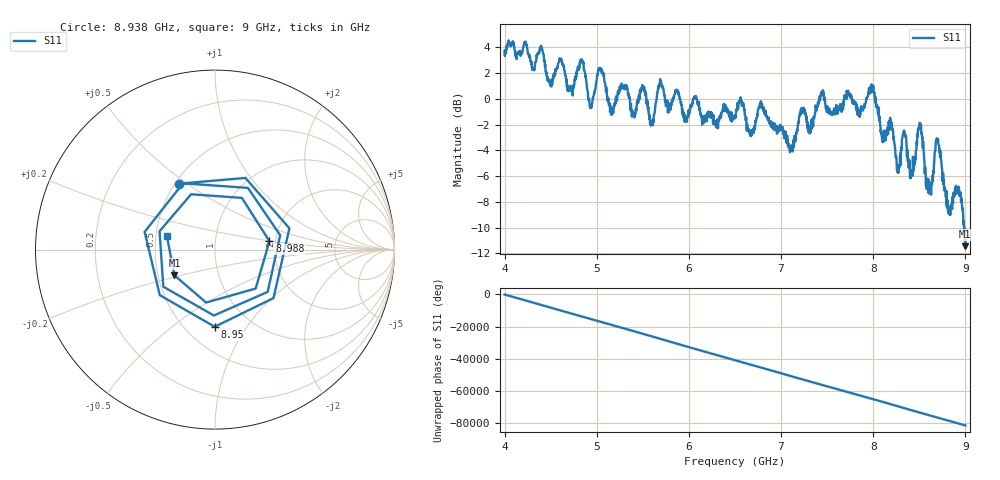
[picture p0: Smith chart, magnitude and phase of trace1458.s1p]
! Created with skrf 1.8.0 (http://scikit-rf.org).
# Hz S RI R 50.0
!freq ReS11 ImS11
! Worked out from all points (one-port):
!   1601 points, 4 GHz to 9 GHz, reference 50 ohm
!   lowest |S11| = -11.4 dB at 8.997 GHz (marker M1), VSWR 1.73, Z = 30.5 - j9.4 ohm
!   |S11| at or under -10 dB: 8.985879 GHz to end of sweep
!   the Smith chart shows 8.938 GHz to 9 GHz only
!   S11 on the Smith chart (normalised r, x): 8.938 GHz: 0.52, +0.47; 8.95 GHz: 0.69, -0.72; 8.988 GHz: 1.86, +0.19; 9 GHz: 0.57, +0.10
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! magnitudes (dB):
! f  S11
! 4 GHz  3.7
! 4.625 GHz  2.8
! 4.719 GHz  0.7
! 4.841 GHz  2.9
! 4.931 GHz  -0.6
! 5.034 GHz  2.4
! 5.156 GHz  -1.0
! 5.25 GHz  1.0
! 5.509 GHz  0.8
! 5.594 GHz  -1.8
! 5.684 GHz  1.2
! 5.875 GHz  0.7
! 6.5 GHz  -1.3
! 7.125 GHz  -3.9
! 7.228 GHz  -1.1
! 7.75 GHz  0.3
! 7.988 GHz  0.9
! 8.262 GHz  -5.7
! 8.375 GHz  -4.8
! 8.509 GHz  -2.1
! 8.603 GHz  -7.4
! 8.697 GHz  -3.2
! 8.812 GHz  -8.7
! 8.938 GHz  -7.6
! 8.95 GHz  -7.3
! 8.988 GHz  -10.3
! 8.997 GHz  -11.4
! 9 GHz  -11.1
